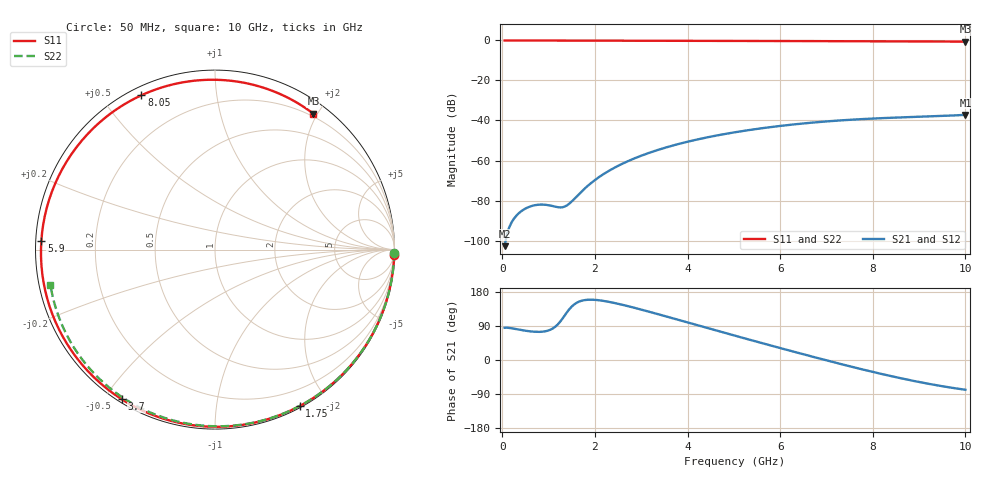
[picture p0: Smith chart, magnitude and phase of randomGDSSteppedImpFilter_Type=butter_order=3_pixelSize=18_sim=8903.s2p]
! freq	dB(S11)	phase(S11)	dB(S12)	phase(S12)
!  dB(S21)	phase(S21)	dB(S22)	phase(S22)
!S-par simulation data
#  GHz  S  DB  R 50
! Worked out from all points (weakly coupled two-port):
!   200 points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, 50 MHz to 10 GHz, reference 50 ohm
!   highest |S21| = -37.19 dB at 10 GHz (marker M1); lowest = -102.8 dB at 50 MHz (marker M2)
!   lowest |S11| = -0.6 dB at 10 GHz (marker M3), VSWR 29.59, Z = 8.14 + j97.4 ohm
!   |S11| at or under -10 dB: nowhere
!   |S22| runs from -0.6 to 0.0 dB; largest |S21 - S12| = 0
!   S11 on the Smith chart (normalised r, x): 50 MHz: 1, -65; 1.75 GHz: 0.02, -1.68; 3.7 GHz: 0.01, -0.55; 5.9 GHz: 0.02, +0.03; 8.05 GHz: 0.03, +0.63; 10 GHz: 0.16, +1.95
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0.05  -0.00 -1.8  -102.81 84.9  -102.81 84.9  -0.00 -0.9
0.4  -0.02 -14.5  -85.51 79.3  -85.51 79.3  -0.01 -7.7
0.75  -0.04 -27.0  -82.18 74.3  -82.18 74.3  -0.02 -14.5
1.5  -0.07 -53.2  -80.44 141.0  -80.44 141.0  -0.04 -28.8
1.75  -0.08 -61.6  -74.65 157.4  -74.65 157.4  -0.04 -33.5
2.1  -0.09 -73.2  -68.11 157.5  -68.11 157.5  -0.05 -40.0
2.45  -0.10 -84.4  -63.27 149.7  -63.27 149.7  -0.06 -46.4
2.9  -0.12 -98.3  -58.51 136.3  -58.51 136.3  -0.07 -54.6
3.4  -0.14 -113.2  -54.43 119.7  -54.43 119.7  -0.08 -63.4
3.7  -0.15 -122.0  -52.40 109.5  -52.40 109.5  -0.09 -68.6
4.4  -0.19 -141.7  -48.55 85.4  -48.55 85.4  -0.12 -80.5
5.05  -0.22 -159.6  -45.79 63.3  -45.79 63.3  -0.14 -91.2
5.5  -0.25 -171.9  -44.21 48.2  -44.21 48.2  -0.16 -98.5
5.9  -0.28 177.1  -43.00 34.8  -43.00 34.8  -0.18 -104.8
6.7  -0.33 154.9  -41.05 8.7  -41.05 8.7  -0.23 -117.3
7.35  -0.37 136.3  -39.88 -11.9  -39.88 -11.9  -0.28 -127.2
8.05  -0.42 115.5  -38.98 -32.8  -38.98 -32.8  -0.34 -137.8
8.35  -0.44 106.4  -38.68 -41.3  -38.68 -41.3  -0.36 -142.4
8.75  -0.47 93.9  -38.34 -51.9  -38.34 -51.9  -0.41 -148.5
9.15  -0.50 81.3  -38.02 -61.6  -38.02 -61.6  -0.45 -154.6
9.55  -0.54 68.5  -37.68 -70.2  -37.68 -70.2  -0.50 -160.8
10  -0.59 54.1  -37.19 -78.5  -37.19 -78.5  -0.56 -167.9
